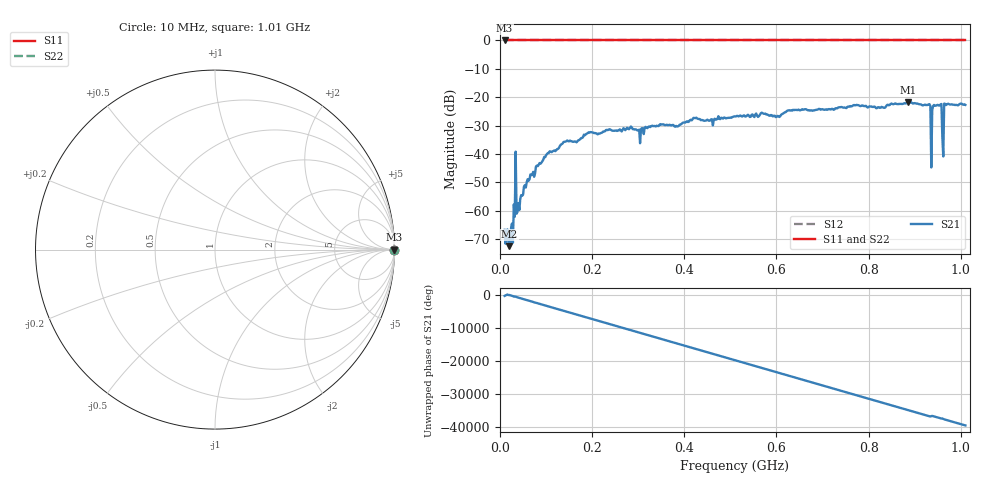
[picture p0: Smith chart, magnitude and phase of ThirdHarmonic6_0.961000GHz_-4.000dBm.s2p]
! 8/16/2025 7:07:13 AM
! C:\ANRITSUVNA\TEMP\TEMP.S2P
! CHANNEL.1
! TR.MEASUREMENT
! RAW.DATA
! RF.CORRECTION.OFF
! AVERAGING.OFF
! IF.BANDWIDTH: 5KHZ
! SWEEPTYPE:  FREQ.SWEEP(Linear)
! Reference Plane Port Info
! PORT:  PORT1  PORT2
! DISTANCE:  0  m  0  m
! TIME:  0  s  0  s
! PHASE.OFFSET:  0  deg.  0  deg.
! LOSS:  0  dB  0  dB
! REF.LOSS:  0  dB  0  dB
! REF.FREQ:  0  Hz  0  Hz
! Power Info
! POWER:  -20  dBm  -20  dBm
! EFF.POWER:  -20  dBm  -20  dBm
! SOURCE.ATTEN:  0  dB  0  dB
! TEST.ATTEN:  0  dB  0  dB
# GHZ S RI R 50.0
! FREQ.GHZ  S11RE  S11IM  S21RE  S21IM  S12RE  S12IM  S22RE  S22IM
!; PortSelection: Port_12
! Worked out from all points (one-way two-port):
!   501 points, 10 MHz to 1.01 GHz, reference 50 ohm
!   highest |S21| = -21.73 dB at 886 MHz (marker M1); lowest = -72.4 dB at 20 MHz (marker M2)
!   lowest |S11| = 0.0 dB at 10 MHz (marker M3)
!   |S11| at or under -10 dB: nowhere
!   |S22| runs from 0.0 to 0.0 dB; largest |S21 - S12| = 1.1
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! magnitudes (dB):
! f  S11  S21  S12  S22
! 10 MHz  0.0  -66.7  0.0  0.0
! 20 MHz  0.0  -72.4  0.0  0.0
! 24 MHz  0.0  -66.1  0.0  0.0
! 34 MHz  0.0  -39.2  0.0  0.0
! 40 MHz  0.0  -57.3  0.0  0.0
! 56 MHz  0.0  -51.8  0.0  0.0
! 82 MHz  0.0  -44.3  0.0  0.0
! 178 MHz  0.0  -34.3  0.0  0.0
! 344 MHz  0.0  -30.1  0.0  0.0
! 510 MHz  0.0  -26.8  0.0  0.0
! 678 MHz  0.0  -24.7  0.0  0.0
! 844 MHz  0.0  -22.8  0.0  0.0
! 886 MHz  0.0  -21.7  0.0  0.0
! 930 MHz  0.0  -22.5  0.0  0.0
! 932 MHz  0.0  -22.4  0.0  0.0
! 938 MHz  0.0  -24.4  0.0  0.0
! 942 MHz  0.0  -22.7  0.0  0.0
! 954 MHz  0.0  -22.9  0.0  0.0
! 958 MHz  0.0  -22.4  0.0  0.0
! 964 MHz  0.0  -22.2  0.0  0.0
! 968 MHz  0.0  -22.8  0.0  0.0
! 1.01 GHz  0.0  -22.7  0.0  0.0
